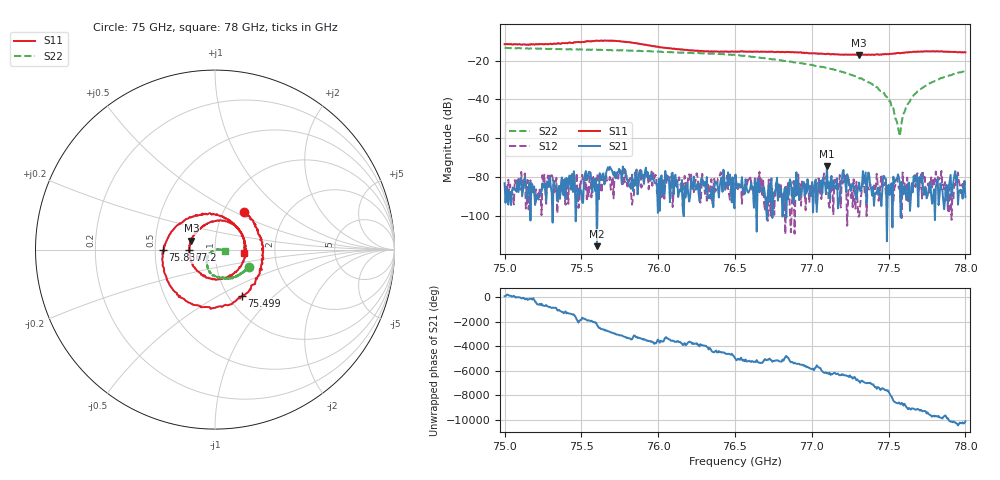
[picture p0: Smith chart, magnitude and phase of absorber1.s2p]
# Hz S RI R 50
! CMT, C4420, 21421029, 25.1.2/3
! Date: 8/5/2025 3:57:54 PM
! Data: Format (Calibration Info)
! Freq	S33:Re/Im(F2)	S43:Re/Im(F2)	S34:Re/Im(F2)	S44:Re/Im(F2)
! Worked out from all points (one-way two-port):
!   500 points, 75 GHz to 78 GHz, reference 50 ohm
!   highest |S21| = -74.30 dB at 77.098 GHz (marker M1); lowest = -115.6 dB at 75.601 GHz (marker M2)
!   lowest |S11| = -17.0 dB at 77.309 GHz (marker M3), VSWR 1.33, Z = 38.2 + j3.88 ohm
!   |S11| at or under -10 dB: start of sweep to 75.533 GHz; 75.5558 GHz to 75.56757 GHz (11.77 MHz wide, 0.0156 % of centre); 75.753 GHz to end of sweep
!   |S22| runs from -58.9 to -13.4 dB; largest |S21 - S12| = 0.00018
!   S11 on the Smith chart (normalised r, x): 75 GHz: 1.25, +0.56; 75.499 GHz: 1.16, -0.65; 75.836 GHz: 0.55, -0.00; 77.2 GHz: 0.75, -0.00; 78 GHz: 1.39, -0.06
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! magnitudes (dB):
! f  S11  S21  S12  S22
! 75 GHz  -11.5  -83.1  -85.6  -13.4
! 75.499 GHz  -10.5  -86.8  -83.4  -14.3
! 75.505 GHz  -10.3  -93.2  -78.8  -14.2
! 75.601 GHz  -9.6  -115.6  -80.8  -14.4
! 75.679 GHz  -9.7  -76.4  -82.0  -14.6
! 75.715 GHz  -9.8  -77.3  -79.7  -14.6
! 75.782 GHz  -10.3  -75.9  -82.7  -14.8
! 75.806 GHz  -10.4  -82.7  -81.3  -14.8
! 75.836 GHz  -10.8  -87.1  -90.8  -14.9
! 75.926 GHz  -11.9  -79.9  -78.0  -15.1
! 76.004 GHz  -13.0  -80.9  -91.5  -15.3
! 76.503 GHz  -15.4  -78.7  -84.3  -17.1
! 77.002 GHz  -16.3  -82.6  -87.9  -22.2
! 77.098 GHz  -16.5  -74.3  -80.8  -23.8
! 77.2 GHz  -16.9  -77.5  -83.4  -25.8
! 77.309 GHz  -17.0  -82.8  -100.3  -29.1
! 77.501 GHz  -16.7  -83.9  -89.1  -40.7
! 77.573 GHz  -16.2  -83.0  -86.1  -58.9
! 77.609 GHz  -15.8  -86.1  -85.7  -45.3
! 77.681 GHz  -15.5  -78.8  -79.8  -36.5
! 77.826 GHz  -15.2  -94.4  -81.5  -29.7
! 78 GHz  -15.7  -90.4  -85.2  -25.4
